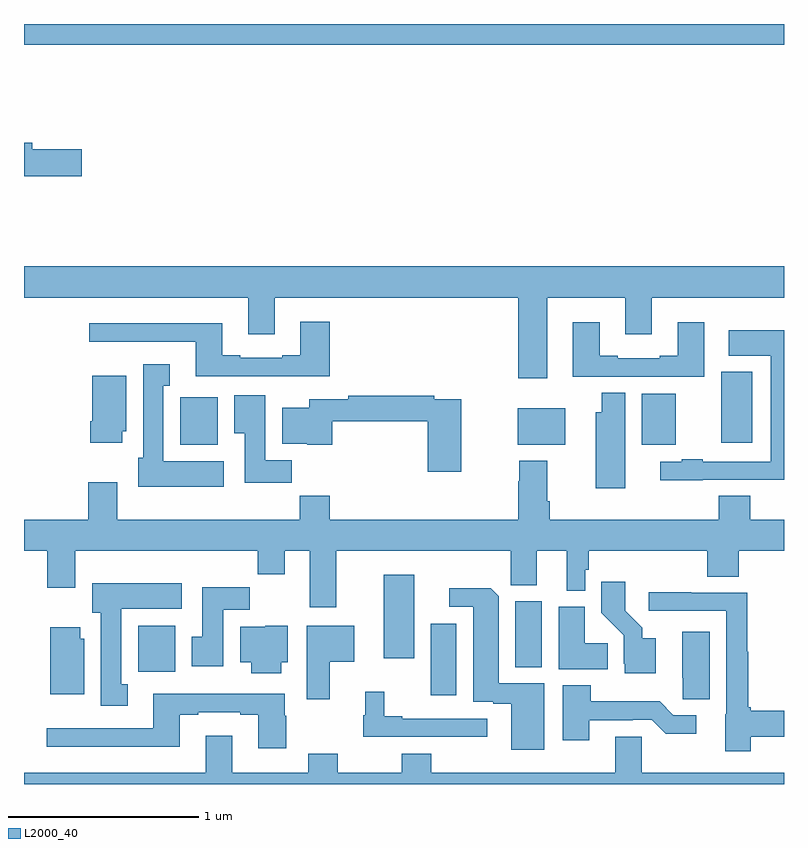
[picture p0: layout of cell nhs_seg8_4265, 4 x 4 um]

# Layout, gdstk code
import gdstk
lib = gdstk.Library(unit=1e-6, precision=1e-09)
def R(c, l, rs):  # rectangles x0, y0, x1, y1
    for r in rs: c.add(gdstk.rectangle(r[:2], r[2:], *l))
def P(c, l, *ps):  # polygons
    for p in ps: c.add(gdstk.Polygon(p, *l))
L2000_40 = (2000, 40)

nhs_seg8_4265 = lib.new_cell('nhs_seg8_4265')
R(nhs_seg8_4265, L2000_40, [(373.142,1154.367,373.276,1154.743), (371.6,1154.492,371.797,1154.734), (373.586,1154.515,373.726,1154.862), (372.893,1154.562,373.054,1155.001), (371.823,1155.686,372.019,1155.936), (373.598,1155.686,373.849,1155.877), (374.252,1155.686,374.431,1155.955), (374.669,1155.696,374.833,1156.069), (371,1157.792,375,1157.9)])
P(nhs_seg8_4265, L2000_40, [(371.305,1157.24),(371.044,1157.24),(371.044,1157.276),(371,1157.276),(371,1157.098),(371.305,1157.098)],
  [(373.753,1156.46),(374.165,1156.46),(374.165,1156.266),(374.305,1156.266),(374.305,1156.46),(375,1156.46),(375,1156.624),(371,1156.624),(371,1156.46),(372.179,1156.46),(372.179,1156.266),(372.319,1156.266),(372.319,1156.46),(373.601,1156.46),(373.601,1156.035),(373.753,1156.035)],
  [(372.608,1156.333),(372.455,1156.333),(372.455,1156.156),(372.359,1156.156),(372.359,1156.143),(372.139,1156.143),(372.139,1156.156),(372.043,1156.156),(372.043,1156.324),(371.343,1156.324),(371.343,1156.227),(371.903,1156.227),(371.903,1156.047),(372.608,1156.047)],
  [(374.581,1156.33),(374.441,1156.33),(374.441,1156.153),(374.345,1156.153),(374.345,1156.14),(374.125,1156.14),(374.125,1156.153),(374.029,1156.153),(374.029,1156.33),(373.889,1156.33),(373.889,1156.044),(374.581,1156.044)],
  [(374.573,1155.501),(375,1155.501),(375,1156.288),(374.709,1156.288),(374.709,1156.154),(374.93,1156.154),(374.93,1155.597),(374.573,1155.597),(374.573,1155.61),(374.461,1155.61),(374.461,1155.597),(374.349,1155.597),(374.349,1155.5),(374.573,1155.5)],
  [(372.052,1155.598),(371.734,1155.598),(371.734,1155.995),(371.767,1155.995),(371.767,1156.108),(371.627,1156.108),(371.627,1155.618),(371.6,1155.618),(371.6,1155.464),(372.052,1155.464)],
  [(371.518,1155.756),(371.539,1155.756),(371.539,1156.048),(371.36,1156.048),(371.36,1155.808),(371.348,1155.808),(371.348,1155.696),(371.518,1155.696)],
  [(374.164,1155.959),(374.042,1155.959),(374.042,1155.856),(374.009,1155.856),(374.009,1155.456),(374.164,1155.456)],
  [(372.41,1155.604),(372.271,1155.604),(372.271,1155.946),(372.107,1155.946),(372.107,1155.745),(372.161,1155.745),(372.161,1155.486),(372.41,1155.486)],
  [(373.302,1155.924),(373.16,1155.924),(373.16,1155.944),(372.706,1155.944),(372.706,1155.924),(372.5,1155.924),(372.5,1155.88),(372.359,1155.88),(372.359,1155.692),(372.492,1155.692),(372.492,1155.686),(372.623,1155.686),(372.623,1155.808),(373.124,1155.808),(373.124,1155.543),(373.302,1155.543)],
  [(372.643,1155.128),(373.561,1155.128),(373.561,1154.947),(373.699,1154.947),(373.699,1155.128),(373.856,1155.128),(373.856,1154.918),(373.953,1154.918),(373.953,1155.027),(373.973,1155.027),(373.973,1155.128),(374.597,1155.128),(374.597,1154.992),(374.762,1154.992),(374.762,1155.128),(375,1155.128),(375,1155.292),(374.822,1155.292),(374.822,1155.416),(374.657,1155.416),(374.657,1155.292),(373.766,1155.292),(373.766,1155.388),(373.753,1155.388),(373.753,1155.601),(373.606,1155.601),(373.606,1155.494),(373.601,1155.494),(373.601,1155.292),(372.608,1155.292),(372.608,1155.416),(372.451,1155.416),(372.451,1155.292),(371.491,1155.292),(371.491,1155.487),(371.339,1155.487),(371.339,1155.292),(371,1155.292),(371,1155.128),(371.122,1155.128),(371.122,1154.934),(371.269,1154.934),(371.269,1155.128),(372.229,1155.128),(372.229,1155.004),(372.373,1155.004),(372.373,1155.128),(372.503,1155.128),(372.503,1154.829),(372.643,1154.829)],
  [(374.326,1154.668),(374.254,1154.668),(374.254,1154.723),(374.164,1154.813),(374.164,1154.965),(374.038,1154.965),(374.038,1154.802),(374.157,1154.683),(374.157,1154.532),(374.162,1154.532),(374.162,1154.483),(374.326,1154.483)],
  [(371.545,1154.426),(371.512,1154.426),(371.512,1154.822),(371.83,1154.822),(371.83,1154.956),(371.36,1154.956),(371.36,1154.802),(371.405,1154.802),(371.405,1154.313),(371.545,1154.313)],
  [(372.049,1154.816),(372.188,1154.816),(372.188,1154.935),(371.939,1154.935),(371.939,1154.676),(371.882,1154.676),(371.882,1154.52),(372.049,1154.52)],
  [(373.738,1154.43),(373.498,1154.43),(373.498,1154.888),(373.457,1154.93),(373.239,1154.93),(373.239,1154.832),(373.364,1154.832),(373.364,1154.334),(373.469,1154.334),(373.469,1154.322),(373.565,1154.322),(373.565,1154.079),(373.738,1154.079)],
  [(374.826,1154.15),(375,1154.15),(375,1154.285),(374.826,1154.285),(374.826,1154.303),(374.813,1154.303),(374.813,1154.595),(374.806,1154.595),(374.806,1154.907),(374.513,1154.907),(374.513,1154.91),(374.289,1154.91),(374.289,1154.811),(374.697,1154.811),(374.697,1154.268),(374.69,1154.268),(374.69,1154.072),(374.826,1154.072)],
  [(374.072,1154.642),(373.951,1154.642),(373.951,1154.833),(373.814,1154.833),(373.814,1154.504),(374.072,1154.504)],
  [(372.355,1154.54),(372.388,1154.54),(372.388,1154.734),(372.27,1154.734),(372.27,1154.728),(372.137,1154.728),(372.137,1154.54),(372.197,1154.54),(372.197,1154.483),(372.355,1154.483)],
  [(372.61,1154.543),(372.739,1154.543),(372.739,1154.734),(372.488,1154.734),(372.488,1154.346),(372.61,1154.346)],
  [(371.317,1154.664),(371.296,1154.664),(371.296,1154.725),(371.138,1154.725),(371.138,1154.372),(371.317,1154.372)],
  [(374.608,1154.701),(374.465,1154.701),(374.465,1154.458),(374.466,1154.458),(374.466,1154.347),(374.608,1154.347)],
  [(373.975,1154.235),(374.204,1154.235),(374.204,1154.238),(374.304,1154.238),(374.377,1154.165),(374.539,1154.165),(374.539,1154.262),(374.418,1154.262),(374.345,1154.335),(373.983,1154.335),(373.983,1154.419),(373.835,1154.419),(373.835,1154.13),(373.975,1154.13)],
  [(373.438,1154.244),(372.991,1154.244),(372.991,1154.257),(372.897,1154.257),(372.897,1154.386),(372.797,1154.386),(372.797,1154.262),(372.786,1154.262),(372.786,1154.148),(373.438,1154.148)],
  [(372.381,1154.258),(372.373,1154.258),(372.373,1154.374),(371.681,1154.374),(371.681,1154.193),(371.121,1154.193),(371.121,1154.096),(371.821,1154.096),(371.821,1154.265),(371.917,1154.265),(371.917,1154.277),(372.137,1154.277),(372.137,1154.265),(372.233,1154.265),(372.233,1154.088),(372.381,1154.088)],
  [(375,1153.96),(374.25,1153.96),(374.25,1154.15),(374.111,1154.15),(374.111,1153.96),(373.143,1153.96),(373.143,1154.059),(372.988,1154.059),(372.988,1153.96),(372.651,1153.96),(372.651,1154.059),(372.496,1154.059),(372.496,1153.96),(372.097,1153.96),(372.097,1154.155),(371.957,1154.155),(371.957,1153.96),(371,1153.96),(371,1153.9),(375,1153.9)])

lib.write_gds('nhs_seg8_4265.gds')
